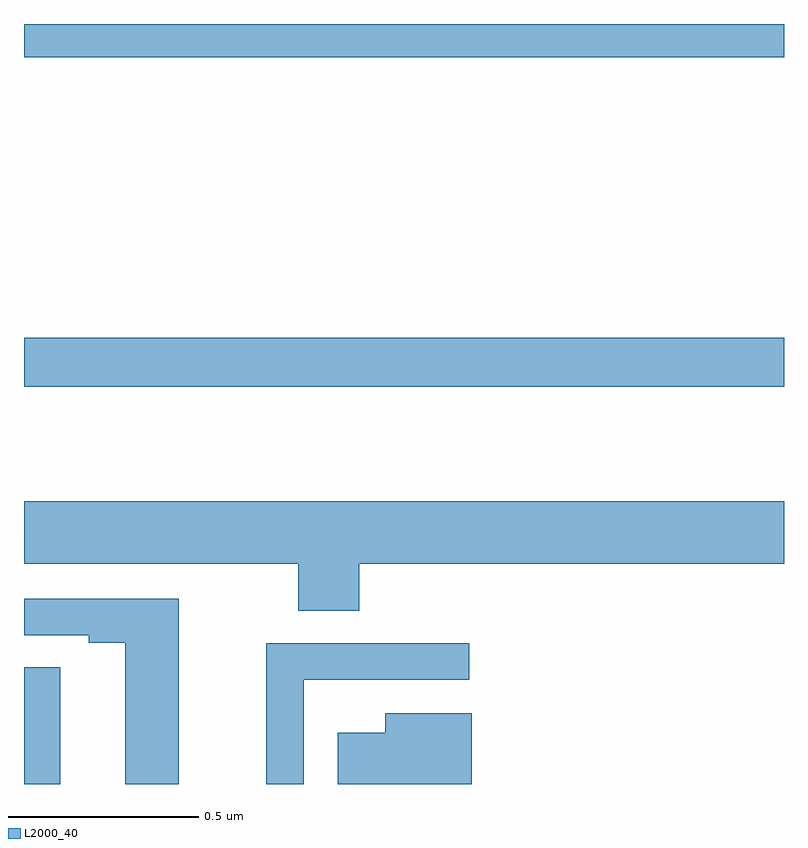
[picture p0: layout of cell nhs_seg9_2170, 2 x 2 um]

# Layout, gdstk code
import gdstk
lib = gdstk.Library(unit=1e-6, precision=1e-09)
def R(c, l, rs):  # rectangles x0, y0, x1, y1
    for r in rs: c.add(gdstk.rectangle(r[:2], r[2:], *l))
def P(c, l, *ps):  # polygons
    for p in ps: c.add(gdstk.Polygon(p, *l))
L2000_40 = (2000, 40)

nhs_seg9_2170 = lib.new_cell('nhs_seg9_2170')
R(nhs_seg9_2170, L2000_40, [(137,1202.5,137.095,1202.807), (137,1203.546,139,1203.674), (137,1204.412,139,1204.5)])
P(nhs_seg9_2170, L2000_40, [(137.882,1203.08),(139,1203.08),(139,1203.244),(137,1203.244),(137,1203.08),(137.722,1203.08),(137.722,1202.956),(137.882,1202.956)],
  [(137.407,1202.988),(137,1202.988),(137,1202.892),(137.171,1202.892),(137.171,1202.872),(137.267,1202.872),(137.267,1202.5),(137.407,1202.5)],
  [(137.736,1202.774),(137.738,1202.774),(137.738,1202.775),(138.172,1202.775),(138.172,1202.871),(137.638,1202.871),(137.638,1202.5),(137.736,1202.5)],
  [(138.178,1202.686),(137.951,1202.686),(137.951,1202.635),(137.826,1202.635),(137.826,1202.5),(138.178,1202.5)])

lib.write_gds('nhs_seg9_2170.gds')
